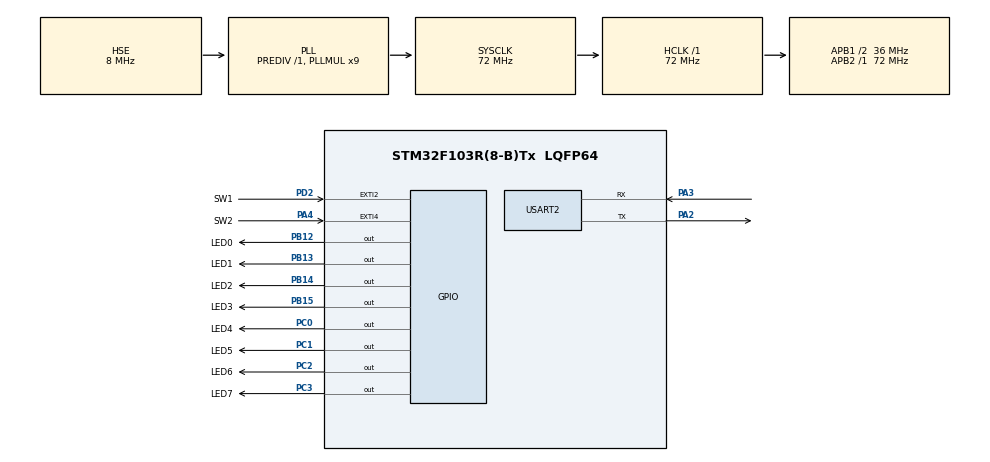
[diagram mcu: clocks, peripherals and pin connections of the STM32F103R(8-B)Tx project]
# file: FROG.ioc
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Mcu.Family=STM32F1
Mcu.Name=STM32F103R(8-B)Tx
Mcu.Package=LQFP64
NVIC.EXTI2_IRQn=true\:0\:0\:false\:false\:true\:true\:true\:true
NVIC.EXTI4_IRQn=true\:0\:0\:false\:false\:true\:true\:true\:true
NVIC.PriorityGroup=NVIC_PRIORITYGROUP_4
PA2.Mode=Asynchronous
PA2.Signal=USART2_TX
PA3.Mode=Asynchronous
PA3.Signal=USART2_RX
PA4.GPIO_Label=SW2
PA4.GPIO_ModeDefaultEXTI=GPIO_MODE_IT_FALLING
PA4.Signal=GPXTI4
PB12.GPIO_Label=LED0
PB12.Signal=GPIO_Output
PB13.GPIO_Label=LED1
PB13.Signal=GPIO_Output
PB14.GPIO_Label=LED2
PB14.Signal=GPIO_Output
PB15.GPIO_Label=LED3
PB15.Signal=GPIO_Output
PC0.GPIO_Label=LED4
PC0.Signal=GPIO_Output
PC1.GPIO_Label=LED5
PC1.Signal=GPIO_Output
PC14-OSC32_IN.Mode=LSE-External-Oscillator
PC14-OSC32_IN.Signal=RCC_OSC32_IN
PC15-OSC32_OUT.Mode=LSE-External-Oscillator
PC15-OSC32_OUT.Signal=RCC_OSC32_OUT
PC2.GPIO_Label=LED6
PC2.Signal=GPIO_Output
PC3.GPIO_Label=LED7
PC3.Signal=GPIO_Output
PD0-OSC_IN.Mode=HSE-External-Clock-Source
PD0-OSC_IN.Signal=RCC_OSC_IN
PD1-OSC_OUT.Mode=HSE-External-Clock-Source
PD1-OSC_OUT.Signal=RCC_OSC_OUT
PD2.GPIO_Label=SW1
PD2.GPIO_ModeDefaultEXTI=GPIO_MODE_IT_FALLING
PD2.Signal=GPXTI2
ProjectManager.HeapSize=0x200
ProjectManager.StackSize=0x400
ProjectManager.TargetToolchain=STM32CubeIDE
RCC.AHBFreq_Value=72000000
RCC.APB1CLKDivider=RCC_HCLK_DIV2
RCC.APB1Freq_Value=36000000
RCC.APB1TimFreq_Value=72000000
RCC.APB2Freq_Value=72000000
RCC.APB2TimFreq_Value=72000000
RCC.HCLKFreq_Value=72000000
RCC.PLLMUL=RCC_PLL_MUL9
RCC.PLLSourceVirtual=RCC_PLLSOURCE_HSE
RCC.SYSCLKFreq_VALUE=72000000
RCC.SYSCLKSource=RCC_SYSCLKSOURCE_PLLCLK
RCC.USBFreq_Value=72000000
USART2.VirtualMode=VM_ASYNC
VP_SYS_VS_ND.Mode=No_Debug
board=custom

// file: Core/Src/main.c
/* USER CODE BEGIN Header */
/**
  ******************************************************************************
  * @file           : main.c
  * @brief          : Main program body
  ******************************************************************************
  * @attention
  *
  * Copyright (c) 2025 STMicroelectronics.
  * All rights reserved.
  *
  * This software is licensed under terms that can be found in the LICENSE file
  * in the root directory of this software component.
  * If no LICENSE file comes with this software, it is provided AS-IS.
  *
  ******************************************************************************
  */
/* USER CODE END Header */
#include "main.h"

/* USER CODE BEGIN PD */
#define MODE_OFF  2
#define MODE_A    0
#define MODE_B    1

/* USER CODE END PD */

UART_HandleTypeDef huart2;

/* USER CODE BEGIN PV */

volatile int ambulance_mode = MODE_A;   // 현재 동작 모드 저장 변수
uint16_t led_pin[] = {LED0_Pin, LED1_Pin, LED2_Pin, LED3_Pin, LED4_Pin, LED5_Pin, LED6_Pin, LED7_Pin};
GPIO_TypeDef *led_port[] = {LED0_GPIO_Port, LED1_GPIO_Port, LED2_GPIO_Port, LED3_GPIO_Port,
                            LED4_GPIO_Port, LED5_GPIO_Port, LED6_GPIO_Port, LED7_GPIO_Port};

uint8_t RxBuffer[1];
const uint8_t prompt[] = "Blue-Frog> ";

/* USER CODE END PV */

void SystemClock_Config(void);
static void MX_GPIO_Init(void);
static void MX_USART2_UART_Init(void);

int main(void)
{

  /* MCU Configuration--------------------------------------------------------*/

  /* Reset of all peripherals, Initializes the Flash interface and the Systick. */
  HAL_Init();

  /* Configure the system clock */
  SystemClock_Config();

  /* Initialize all configured peripherals */
  MX_GPIO_Init();
  MX_USART2_UART_Init();
  /* USER CODE BEGIN 2 */

  HAL_UART_Transmit(&huart2, (uint8_t*)prompt, sizeof(prompt)-1, 10);

  /* USER CODE END 2 */

  /* Infinite loop */
  /* USER CODE BEGIN WHILE */

  /* USER CODE BEGIN PV */

  /* USER CODE END PV */

  /* USER CODE BEGIN WHILE */
  while (1)
  {
      // 1바이트 폴링 수신 (타임아웃 1ms)
      if (HAL_UART_Receive(&huart2, RxBuffer, 1, 1) == HAL_OK)
      {
          // 대문자 -> 소문자
          if (RxBuffer[0] >= 'A' && RxBuffer[0] <= 'Z')
          {
              RxBuffer[0] = RxBuffer[0] - 'A' + 'a';
              HAL_UART_Transmit(&huart2, RxBuffer, 1, 1);
          }
          // 소문자 -> 대문자
          else if (RxBuffer[0] >= 'a' && RxBuffer[0] <= 'z')
          {
              RxBuffer[0] = RxBuffer[0] - 'a' + 'A';
              HAL_UART_Transmit(&huart2, RxBuffer, 1, 1);
          }
          // 숫자 1~9 -> 10 보수(1->9, 2->8, ..., 9->1)
          else if (RxBuffer[0] >= '1' && RxBuffer[0] <= '9')
          {
              RxBuffer[0] = 10 - (RxBuffer[0] - '0') + '0';
              HAL_UART_Transmit(&huart2, RxBuffer, 1, 1);
          }
          // 숫자 0은 그대로
          else if (RxBuffer[0] == '0')
          {
              HAL_UART_Transmit(&huart2, RxBuffer, 1, 1);
          }
          // 엔터(캐리지리턴) -> 줄바꿈 + 프롬프트
          else if (RxBuffer[0] == '\r')
          {
              // 터미널 호환을 위해 CRLF 전송
              uint8_t crlf[2] = {'\r','\n'};
              HAL_UART_Transmit(&huart2, crlf, 2, 2);
              HAL_UART_Transmit(&huart2, (uint8_t*)prompt, sizeof(prompt)-1, 10);
          }
          // 일부 터미널은 \r 다음에 \n도 보냄 → 무시
          else if (RxBuffer[0] == '\n')
          {
              // do nothing
          }
          // 그 외 문자는 '?' 로
          else
          {
              uint8_t q = '?';
              HAL_UART_Transmit(&huart2, &q, 1, 1);
          }
      }
  }
  /* USER CODE END WHILE */

    /* USER CODE END WHILE */

}

void SystemClock_Config(void)
{
  RCC_OscInitTypeDef RCC_OscInitStruct = {0};
  RCC_ClkInitTypeDef RCC_ClkInitStruct = {0};

  /** Initializes the RCC Oscillators according to the specified parameters
  * in the RCC_OscInitTypeDef structure.
  */
  RCC_OscInitStruct.OscillatorType = RCC_OSCILLATORTYPE_HSE;
  RCC_OscInitStruct.HSEState = RCC_HSE_BYPASS;
  RCC_OscInitStruct.HSEPredivValue = RCC_HSE_PREDIV_DIV1;
  RCC_OscInitStruct.HSIState = RCC_HSI_ON;
  RCC_OscInitStruct.PLL.PLLState = RCC_PLL_ON;
  RCC_OscInitStruct.PLL.PLLSource = RCC_PLLSOURCE_HSE;
  RCC_OscInitStruct.PLL.PLLMUL = RCC_PLL_MUL9;
  if (HAL_RCC_OscConfig(&RCC_OscInitStruct) != HAL_OK)
  {
    Error_Handler();
  }

  /** Initializes the CPU, AHB and APB buses clocks
  */
  RCC_ClkInitStruct.ClockType = RCC_CLOCKTYPE_HCLK|RCC_CLOCKTYPE_SYSCLK
                              |RCC_CLOCKTYPE_PCLK1|RCC_CLOCKTYPE_PCLK2;
  RCC_ClkInitStruct.SYSCLKSource = RCC_SYSCLKSOURCE_PLLCLK;
  RCC_ClkInitStruct.AHBCLKDivider = RCC_SYSCLK_DIV1;
  RCC_ClkInitStruct.APB1CLKDivider = RCC_HCLK_DIV2;
  RCC_ClkInitStruct.APB2CLKDivider = RCC_HCLK_DIV1;

  if (HAL_RCC_ClockConfig(&RCC_ClkInitStruct, FLASH_LATENCY_2) != HAL_OK)
  {
    Error_Handler();
  }
}

static void MX_USART2_UART_Init(void)
{

  huart2.Instance = USART2;
  huart2.Init.BaudRate = 115200;
  huart2.Init.WordLength = UART_WORDLENGTH_8B;
  huart2.Init.StopBits = UART_STOPBITS_1;
  huart2.Init.Parity = UART_PARITY_NONE;
  huart2.Init.Mode = UART_MODE_TX_RX;
  huart2.Init.HwFlowCtl = UART_HWCONTROL_NONE;
  huart2.Init.OverSampling = UART_OVERSAMPLING_16;
  if (HAL_UART_Init(&huart2) != HAL_OK)
  {
    Error_Handler();
  }

}

static void MX_GPIO_Init(void)
{
  GPIO_InitTypeDef GPIO_InitStruct = {0};

  /* GPIO Ports Clock Enable */
  __HAL_RCC_GPIOC_CLK_ENABLE();
  __HAL_RCC_GPIOD_CLK_ENABLE();
  __HAL_RCC_GPIOA_CLK_ENABLE();
  __HAL_RCC_GPIOB_CLK_ENABLE();

  /*Configure GPIO pin Output Level */
  HAL_GPIO_WritePin(GPIOC, LED4_Pin|LED5_Pin|LED6_Pin|LED7_Pin, GPIO_PIN_RESET);

  /*Configure GPIO pin Output Level */
  HAL_GPIO_WritePin(GPIOB, LED0_Pin|LED1_Pin|LED2_Pin|LED3_Pin, GPIO_PIN_RESET);

  /*Configure GPIO pins : LED4_Pin LED5_Pin LED6_Pin LED7_Pin */
  GPIO_InitStruct.Pin = LED4_Pin|LED5_Pin|LED6_Pin|LED7_Pin;
  GPIO_InitStruct.Mode = GPIO_MODE_OUTPUT_PP;
  GPIO_InitStruct.Pull = GPIO_NOPULL;
  GPIO_InitStruct.Speed = GPIO_SPEED_FREQ_LOW;
  HAL_GPIO_Init(GPIOC, &GPIO_InitStruct);

  /*Configure GPIO pin : SW2_Pin */
  GPIO_InitStruct.Pin = SW2_Pin;
  GPIO_InitStruct.Mode = GPIO_MODE_IT_FALLING;
  GPIO_InitStruct.Pull = GPIO_NOPULL;
  HAL_GPIO_Init(SW2_GPIO_Port, &GPIO_InitStruct);

  /*Configure GPIO pins : LED0_Pin LED1_Pin LED2_Pin LED3_Pin */
  GPIO_InitStruct.Pin = LED0_Pin|LED1_Pin|LED2_Pin|LED3_Pin;
  GPIO_InitStruct.Mode = GPIO_MODE_OUTPUT_PP;
  GPIO_InitStruct.Pull = GPIO_NOPULL;
  GPIO_InitStruct.Speed = GPIO_SPEED_FREQ_LOW;
  HAL_GPIO_Init(GPIOB, &GPIO_InitStruct);

  /*Configure GPIO pin : SW1_Pin */
  GPIO_InitStruct.Pin = SW1_Pin;
  GPIO_InitStruct.Mode = GPIO_MODE_IT_FALLING;
  GPIO_InitStruct.Pull = GPIO_NOPULL;
  HAL_GPIO_Init(SW1_GPIO_Port, &GPIO_InitStruct);

  /* EXTI interrupt init*/
  HAL_NVIC_SetPriority(EXTI2_IRQn, 0, 0);
  HAL_NVIC_EnableIRQ(EXTI2_IRQn);

  HAL_NVIC_SetPriority(EXTI4_IRQn, 0, 0);
  HAL_NVIC_EnableIRQ(EXTI4_IRQn);

}

void Error_Handler(void)
{
  __disable_irq();
  while (1)
  {
  }
}
